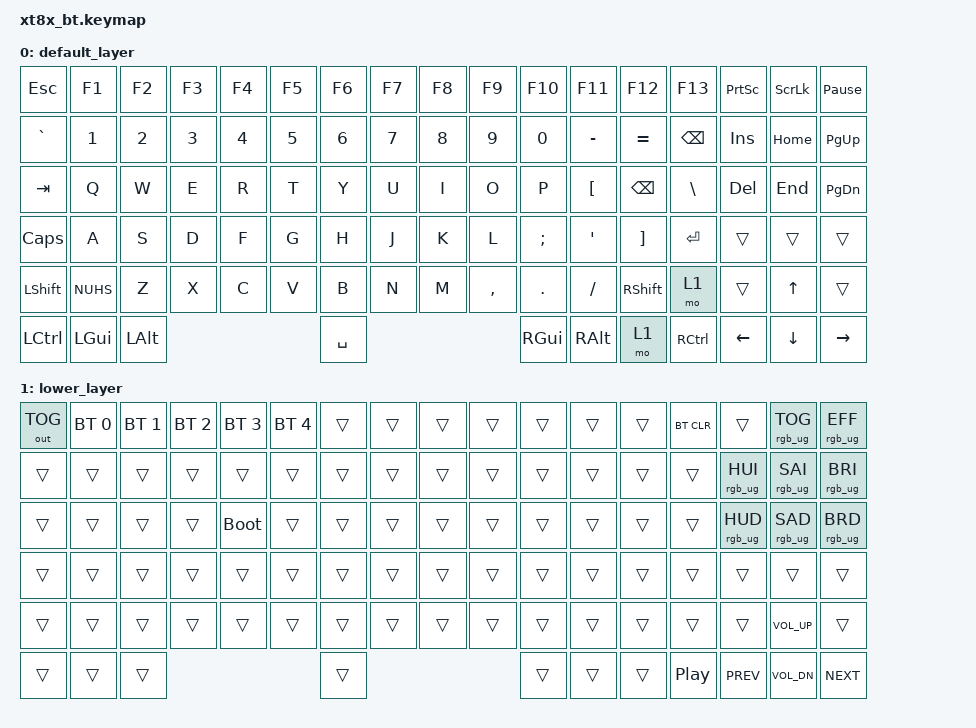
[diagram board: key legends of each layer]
/*
 * Copyright (c) 2022 The ZMK Contributors
 *
 * SPDX-License-Identifier: MIT
 */

#include <behaviors.dtsi>
#include <dt-bindings/zmk/keys.h>
#include <dt-bindings/zmk/rgb.h>
#include <dt-bindings/zmk/bt.h>
#include <dt-bindings/zmk/outputs.h>

/ {
    keymap {
        compatible = "zmk,keymap";

        default_layer {
// -------------------------------------------------------------------------------------------------------
// | ESC | F1  | F2  | F3  | F4  | F5  | F6  | F7  | F8  | F9  | F10 | F11 | F12 | F13 |PSCRN|SLCK |PAUSE|
// | GRV |  1  |  2  |  3  |  4  |  5  |  6  |  7  |  8  |  9  |  0  |  -  |  =  |BSPC | INS |HOME |PGUP |
// | TAB |  Q  |  W  |  E  |  R  |  T  |  Y  |  U  |  I  |  O  |  P  |  [  |  ]  |PIPE | DEL | END |PGDN |
// |CAPS |  A  |  S  |  D  |  F  |  G  |  H  |  J  |  K  |  L  |  ;  |  '  |   ENTER   |
// |LSHFT|NUHS |  Z  |  X  |  C  |  V  |  B  |  N  |  M  |  ,  |  .  |  /  |RSHFT|MO(1)|     |  UP |     |
// |LCTRL|LGUI |LALT |                  SPACE                  |RGUI |RALT |MO(1)|RCTRL|LEFT |DOWN |RIGHT|
// -------------------------------------------------------------------------------------------------------
            bindings = <
    &kp ESC    &kp F1    &kp F2    &kp F3  &kp F4  &kp F5  &kp F6     &kp F7  &kp F8  &kp F9     &kp F10   &kp F11    &kp F12    &kp F13    &kp PSCRN  &kp SLCK  &kp PAUSE_BREAK
	&kp GRAVE  &kp N1    &kp N2    &kp N3  &kp N4  &kp N5  &kp N6     &kp N7  &kp N8  &kp N9     &kp N0    &kp MINUS  &kp EQUAL  &kp BSPC   &kp INS    &kp HOME  &kp PG_UP
    &kp TAB    &kp Q     &kp W     &kp E   &kp R   &kp T   &kp Y      &kp U   &kp I   &kp O      &kp P     &kp LBKT   &kp BSPC   &kp BSLH   &kp DEL    &kp END   &kp PG_DN
    &kp CAPS   &kp A     &kp S     &kp D   &kp F   &kp G   &kp H      &kp J   &kp K   &kp L      &kp SEMI  &kp SQT    &kp RBKT   &kp ENTER  &trans     &trans    &trans
    &kp LSHFT  &kp NUHS  &kp Z     &kp X   &kp C   &kp V   &kp B      &kp N   &kp M   &kp COMMA  &kp DOT   &kp SLASH  &kp RSHFT  &mo 1      &trans     &kp UP    &trans
    &kp LCTRL  &kp LGUI  &kp LALT                          &kp SPACE                             &kp RGUI  &kp RALT   &mo 1      &kp RCTRL  &kp LEFT   &kp DOWN  &kp RIGHT
            >;
        };

        lower_layer {
// -------------------------------------------------------------------------------------------------------
// | OUT | BT0 | BT1 | BT2 | BT3 | BT4 |     |     |     |     |     |     |     |BTCLR|     | RGB | EFF |
// |     |     |     |     |     |     |     |     |     |     |     |     |     |     | HUI | SAI | BRI |
// |     |     |     |     |BTLDR|     |     |     |     |     |     |     |     |     | HUD | SAD | BRD |
// |     |     |     |     |     |     |     |     |     |     |     |     |           |
// |     |     |     |     |     |     |     |     |     |     |     |     |     |     |     |VOLU |     |
// |     |     |     |                                         |     |     |     |PLAY |PREV |VOLDN|NEXT |
// -------------------------------------------------------------------------------------------------------
            bindings = <
    &out OUT_TOG  &bt BT_SEL 0  &bt BT_SEL 1  &bt BT_SEL 2  &bt BT_SEL 3  &bt BT_SEL 4  &trans  &trans  &trans  &trans  &trans  &trans  &trans  &bt BT_CLR  &trans           &rgb_ug RGB_TOG  &rgb_ug RGB_EFF
	&trans        &trans        &trans        &trans        &trans        &trans        &trans  &trans  &trans  &trans  &trans  &trans  &trans  &trans      &rgb_ug RGB_HUI  &rgb_ug RGB_SAI  &rgb_ug RGB_BRI
    &trans        &trans        &trans        &trans        &bootloader   &trans        &trans  &trans  &trans  &trans  &trans  &trans  &trans  &trans      &rgb_ug RGB_HUD  &rgb_ug RGB_SAD  &rgb_ug RGB_BRD
    &trans        &trans        &trans        &trans        &trans        &trans        &trans  &trans  &trans  &trans  &trans  &trans  &trans  &trans      &trans           &trans           &trans
    &trans        &trans        &trans        &trans        &trans        &trans        &trans  &trans  &trans  &trans  &trans  &trans  &trans  &trans      &trans           &kp C_VOL_UP     &trans
    &trans        &trans        &trans                      &trans                                                      &trans  &trans  &trans  &kp C_PP    &kp C_PREV       &kp C_VOL_DN     &kp C_NEXT
            >;
        };
    };
};
